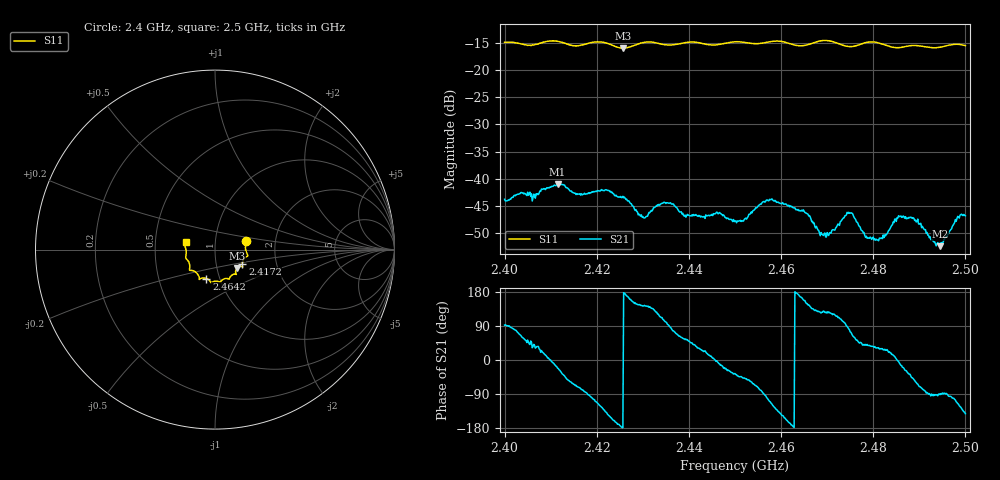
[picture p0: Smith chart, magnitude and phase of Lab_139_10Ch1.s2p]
# Hz S RI R 50
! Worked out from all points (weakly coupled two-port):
!   601 points, 2.4 GHz to 2.5 GHz, reference 50 ohm
!   highest |S21| = -40.98 dB at 2.4115 GHz (marker M1); lowest = -52.4 dB at 2.4945 GHz (marker M2)
!   lowest |S11| = -15.9 dB at 2.4257 GHz (marker M3), VSWR 1.38, Z = 62.4 - j13.1 ohm
!   |S11| at or under -10 dB: start of sweep to end of sweep
!   S12 and S22 are empty: the file has one direction only
!   S11 on the Smith chart (normalised r, x): 2.4 GHz: 1.41, +0.14; 2.4172 GHz: 1.34, -0.22; 2.4642 GHz: 0.86, -0.29; 2.5 GHz: 0.72, +0.06
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2.4e9  0.1738 0.0495  -0.000222 0.00646  0 0  0 0
2.4115e9  0.1816 -0.0355  0.00832 -0.00327  0 0  0 0
2.416667e9  0.1529 -0.0747  0.00162 -0.0071  0 0  0 0
2.417167e9  0.1523 -0.0804  0.00105 -0.00715  0 0  0 0
2.422167e9  0.1508 -0.0944  -0.00596 -0.00514  0 0  0 0
2.425667e9  0.1223 -0.1027  -0.00688 -0.000142  0 0  0 0
2.43e9  0.1176 -0.1361  -0.00355 0.00272  0 0  0 0
2.433333e9  0.1125 -0.1365  -0.00297 0.00487  0 0  0 0
2.45e9  0.0294 -0.1808  0.00331 -0.00239  0 0  0 0
2.4575e9  -0.0163 -0.1821  -0.00214 -0.0061  0 0  0 0
2.464167e9  -0.0482 -0.1611  -0.00491 0.00117  0 0  0 0
2.466667e9  -0.0763 -0.1594  -0.00287 0.00281  0 0  0 0
2.469333e9  -0.0876 -0.1666  -0.0019 0.00241  0 0  0 0
2.474833e9  -0.1048 -0.1278  0.000874 0.00472  0 0  0 0
2.478667e9  -0.1392 -0.1158  0.00213 0.00186  0 0  0 0
2.4815e9  -0.1415 -0.1064  0.00245 0.00142  0 0  0 0
2.483333e9  -0.1405 -0.0895  0.00313 0.00116  0 0  0 0
2.485667e9  -0.1478 -0.0657  0.00443 -0.000613  0 0  0 0
2.488333e9  -0.1616 -0.0495  0.00304 -0.00318  0 0  0 0
2.4945e9  -0.1627 0.00462  -5.71e-05 -0.00239  0 0  0 0
2.498667e9  -0.1695 0.0345  -0.00221 -0.00373  0 0  0 0
2.5e9  -0.1635 0.0415  -0.00357 -0.00282  0 0  0 0
